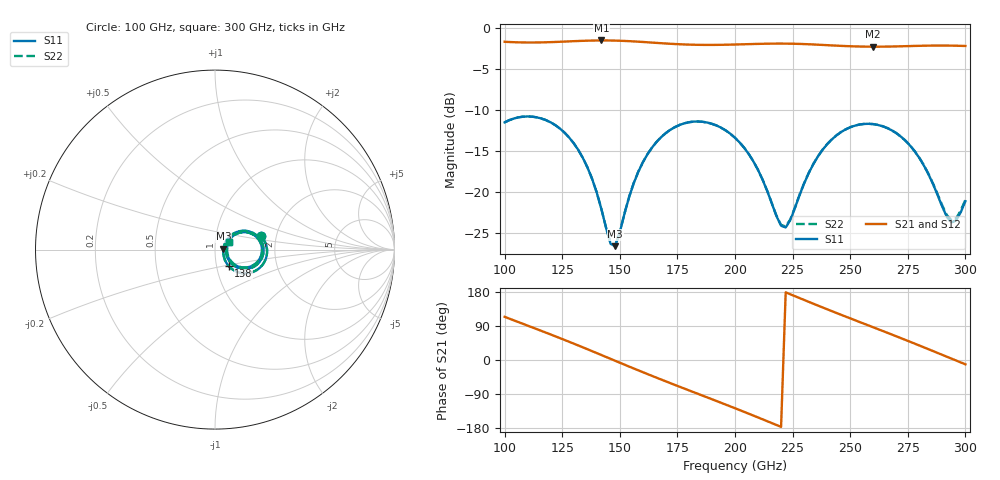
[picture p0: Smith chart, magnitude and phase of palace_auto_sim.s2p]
#  GHZ S DB R 50
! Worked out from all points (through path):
!   101 points, 100 GHz to 300 GHz, reference 50 ohm
!   highest |S21| = -1.47 dB at 142 GHz (marker M1); lowest = -2.2 dB at 260 GHz (marker M2)
!   group delay of S21, straight-line fit = 6.75 ps
!   lowest |S11| = -26.6 dB at 148 GHz (marker M3), VSWR 1.10, Z = 54.9 + j0.503 ohm
!   |S11| at or under -10 dB: start of sweep to end of sweep
!   |S22| runs from -26.5 to -10.7 dB; largest |S21 - S12| = 9.7e-14
!   S11 on the Smith chart (normalised r, x): 100 GHz: 1.67, +0.27; 138 GHz: 1.15, -0.22; 300 GHz: 1.16, +0.10
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100  -11.45 16.1  -1.63 114.0  -1.63 114.0  -11.45 16.1
110  -10.73 -3.4  -1.71 90.7  -1.71 90.7  -10.73 -3.4
118  -11.19 -19.1  -1.69 72.1  -1.69 72.1  -11.19 -19.0
134  -15.81 -47.0  -1.51 33.3  -1.51 33.3  -15.81 -46.9
138  -18.36 -50.3  -1.48 23.3  -1.48 23.3  -18.36 -50.1
142  -22.02 -46.3  -1.47 13.2  -1.47 13.2  -22.01 -46.0
146  -26.27 -19.6  -1.47 3.0  -1.47 3.0  -26.20 -19.3
148  -26.55 5.6  -1.49 -2.0  -1.49 -2.0  -26.47 5.6
158  -17.50 41.2  -1.62 -27.2  -1.62 -27.2  -17.49 41.0
168  -13.24 27.5  -1.80 -51.6  -1.80 -51.6  -13.24 27.4
184  -11.35 -1.8  -2.00 -89.5  -2.00 -89.5  -11.35 -1.8
200  -13.33 -29.6  -1.96 -127.3  -1.96 -127.3  -13.33 -29.6
212  -18.46 -40.6  -1.87 -156.6  -1.87 -156.6  -18.45 -40.3
218  -22.90 -26.2  -1.85 -171.5  -1.85 -171.5  -22.84 -25.8
222  -24.27 3.8  -1.85 178.5  -1.85 178.5  -24.16 3.8
234  -16.55 36.4  -1.96 148.6  -1.96 148.6  -16.52 36.1
248  -12.32 16.6  -2.15 114.7  -2.15 114.7  -12.31 16.5
260  -11.67 -5.0  -2.22 86.3  -2.22 86.3  -11.66 -4.9
268  -12.42 -19.1  -2.20 67.4  -2.20 67.4  -12.41 -18.9
282  -16.73 -37.3  -2.11 33.4  -2.11 33.4  -16.69 -36.8
294  -23.65 -4.5  -2.10 3.5  -2.10 3.5  -23.39 -4.3
300  -21.07 29.3  -2.14 -11.4  -2.14 -11.4  -20.90 28.4
